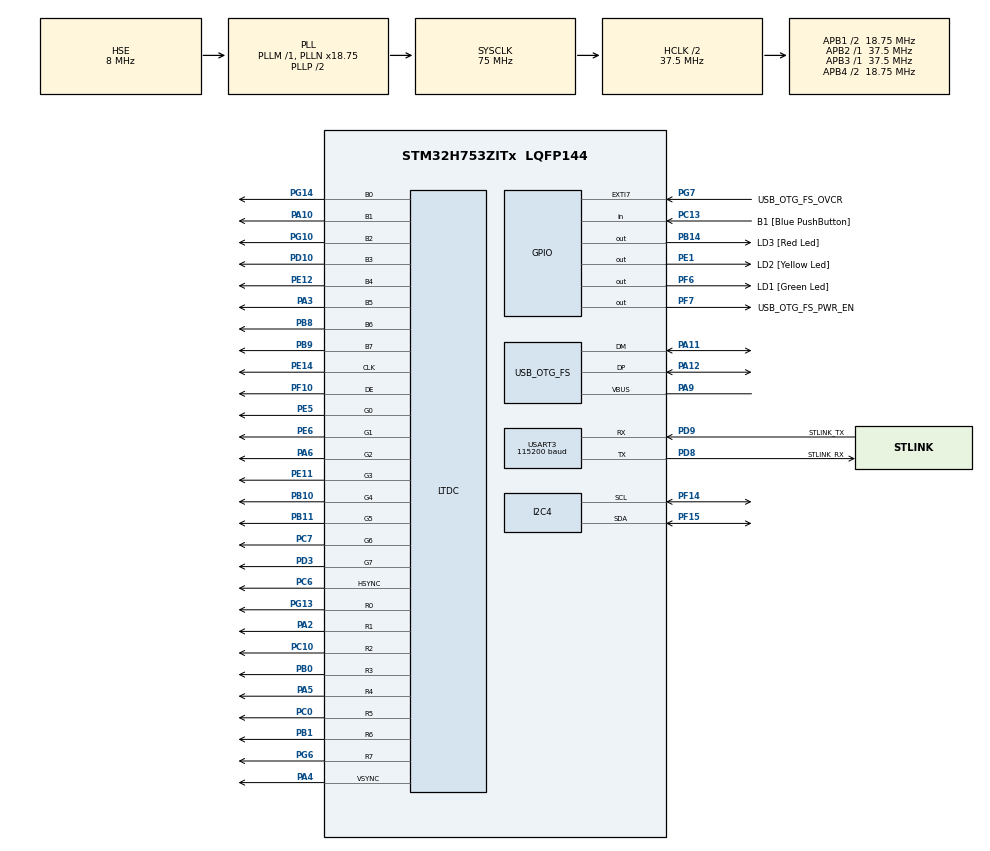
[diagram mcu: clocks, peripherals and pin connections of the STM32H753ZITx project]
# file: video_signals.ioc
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CORTEX_M7.CPU_DCache=Disabled
CORTEX_M7.CPU_ICache=Disabled
CORTEX_M7.MPU_Control=__NULL
I2C4.Timing=0x0040486C
LTDC.ActiveH=100
LTDC.ActiveW=100
LTDC.Alpha_L0=255
LTDC.FBStartAdress_L0=(uint32_t)ImageBuffer
LTDC.HBP=17
LTDC.HFP=16
LTDC.HSync=18
LTDC.ImageHeight_L0=100
LTDC.ImageWidth_L0=100
LTDC.Layers=0
LTDC.PixelFormat_L0=LTDC_PIXEL_FORMAT_L8
LTDC.VBP=12
LTDC.VSync=14
LTDC.WindowX1_L0=100
LTDC.WindowY1_L0=100
Mcu.Family=STM32H7
Mcu.Name=STM32H753ZITx
Mcu.Package=LQFP144
NVIC.PriorityGroup=NVIC_PRIORITYGROUP_4
PA10.GPIO_Mode=GPIO_MODE_AF_PP
PA10.GPIO_PuPd=GPIO_NOPULL
PA10.GPIO_Speed=GPIO_SPEED_FREQ_VERY_HIGH
PA10.Mode=RGB888
PA10.Signal=LTDC_B1
PA11.Mode=Device_Only
PA11.Signal=USB_OTG_FS_DM
PA12.Mode=Device_Only
PA12.Signal=USB_OTG_FS_DP
PA2.GPIO_Mode=GPIO_MODE_AF_PP
PA2.GPIO_PuPd=GPIO_NOPULL
PA2.GPIO_Speed=GPIO_SPEED_FREQ_VERY_HIGH
PA2.Mode=RGB888
PA2.Signal=LTDC_R1
PA3.GPIO_Mode=GPIO_MODE_AF_PP
PA3.GPIO_PuPd=GPIO_NOPULL
PA3.GPIO_Speed=GPIO_SPEED_FREQ_VERY_HIGH
PA3.Mode=RGB888
PA3.Signal=LTDC_B5
PA4.GPIO_Mode=GPIO_MODE_AF_PP
PA4.GPIO_PuPd=GPIO_NOPULL
PA4.GPIO_Speed=GPIO_SPEED_FREQ_VERY_HIGH
PA4.Mode=RGB888
PA4.Signal=LTDC_VSYNC
PA5.GPIO_Mode=GPIO_MODE_AF_PP
PA5.GPIO_PuPd=GPIO_NOPULL
PA5.GPIO_Speed=GPIO_SPEED_FREQ_VERY_HIGH
PA5.Mode=RGB888
PA5.Signal=LTDC_R4
PA6.GPIO_Mode=GPIO_MODE_AF_PP
PA6.GPIO_PuPd=GPIO_NOPULL
PA6.GPIO_Speed=GPIO_SPEED_FREQ_VERY_HIGH
PA6.Mode=RGB888
PA6.Signal=LTDC_G2
PA9.Mode=Activate_VBUS
PA9.Signal=USB_OTG_FS_VBUS
PB0.GPIO_Mode=GPIO_MODE_AF_PP
PB0.GPIO_PuPd=GPIO_NOPULL
PB0.GPIO_Speed=GPIO_SPEED_FREQ_VERY_HIGH
PB0.Mode=RGB888
PB0.Signal=LTDC_R3
PB1.GPIO_Mode=GPIO_MODE_AF_PP
PB1.GPIO_PuPd=GPIO_NOPULL
PB1.GPIO_Speed=GPIO_SPEED_FREQ_VERY_HIGH
PB1.Mode=RGB888
PB1.Signal=LTDC_R6
PB10.GPIO_Mode=GPIO_MODE_AF_PP
PB10.GPIO_PuPd=GPIO_NOPULL
PB10.GPIO_Speed=GPIO_SPEED_FREQ_VERY_HIGH
PB10.Mode=RGB888
PB10.Signal=LTDC_G4
PB11.GPIO_Mode=GPIO_MODE_AF_PP
PB11.GPIO_PuPd=GPIO_NOPULL
PB11.GPIO_Speed=GPIO_SPEED_FREQ_VERY_HIGH
PB11.Mode=RGB888
PB11.Signal=LTDC_G5
PB14.GPIO_Label=LD3 [Red Led]
PB14.Signal=GPIO_Output
PB8.GPIO_Mode=GPIO_MODE_AF_PP
PB8.GPIO_PuPd=GPIO_NOPULL
PB8.GPIO_Speed=GPIO_SPEED_FREQ_VERY_HIGH
PB8.Mode=RGB888
PB8.Signal=LTDC_B6
PB9.GPIO_Mode=GPIO_MODE_AF_PP
PB9.GPIO_PuPd=GPIO_NOPULL
PB9.GPIO_Speed=GPIO_SPEED_FREQ_VERY_HIGH
PB9.Mode=RGB888
PB9.Signal=LTDC_B7
PC0.GPIO_Mode=GPIO_MODE_AF_PP
PC0.GPIO_PuPd=GPIO_NOPULL
PC0.GPIO_Speed=GPIO_SPEED_FREQ_VERY_HIGH
PC0.Mode=RGB888
PC0.Signal=LTDC_R5
PC10.GPIO_Mode=GPIO_MODE_AF_PP
PC10.GPIO_PuPd=GPIO_NOPULL
PC10.GPIO_Speed=GPIO_SPEED_FREQ_VERY_HIGH
PC10.Mode=RGB888
PC10.Signal=LTDC_R2
PC13.GPIO_Label=B1 [Blue PushButton]
PC13.Signal=GPIO_Input
PC14-OSC32_IN\ (OSC32_IN).Mode=LSE-External-Oscillator
PC14-OSC32_IN\ (OSC32_IN).Signal=RCC_OSC32_IN
PC15-OSC32_OUT\ (OSC32_OUT).Mode=LSE-External-Oscillator
PC15-OSC32_OUT\ (OSC32_OUT).Signal=RCC_OSC32_OUT
PC6.GPIO_Mode=GPIO_MODE_AF_PP
PC6.GPIO_PuPd=GPIO_NOPULL
PC6.GPIO_Speed=GPIO_SPEED_FREQ_VERY_HIGH
PC6.Mode=RGB888
PC6.Signal=LTDC_HSYNC
PC7.GPIO_Mode=GPIO_MODE_AF_PP
PC7.GPIO_PuPd=GPIO_NOPULL
PC7.GPIO_Speed=GPIO_SPEED_FREQ_VERY_HIGH
PC7.Mode=RGB888
PC7.Signal=LTDC_G6
PD10.GPIO_Mode=GPIO_MODE_AF_PP
PD10.GPIO_PuPd=GPIO_NOPULL
PD10.GPIO_Speed=GPIO_SPEED_FREQ_VERY_HIGH
PD10.Mode=RGB888
PD10.Signal=LTDC_B3
PD3.GPIO_Mode=GPIO_MODE_AF_PP
PD3.GPIO_PuPd=GPIO_NOPULL
PD3.GPIO_Speed=GPIO_SPEED_FREQ_VERY_HIGH
PD3.Mode=RGB888
PD3.Signal=LTDC_G7
PD8.GPIO_Label=STLINK_RX
PD8.Mode=Asynchronous
PD8.Signal=USART3_TX
PD9.GPIO_Label=STLINK_TX
PD9.Mode=Asynchronous
PD9.Signal=USART3_RX
PE1.GPIO_Label=LD2 [Yellow Led]
PE1.Signal=GPIO_Output
PE11.GPIO_Mode=GPIO_MODE_AF_PP
PE11.GPIO_PuPd=GPIO_NOPULL
PE11.GPIO_Speed=GPIO_SPEED_FREQ_VERY_HIGH
PE11.Mode=RGB888
PE11.Signal=LTDC_G3
PE12.GPIO_Mode=GPIO_MODE_AF_PP
PE12.GPIO_PuPd=GPIO_NOPULL
PE12.GPIO_Speed=GPIO_SPEED_FREQ_VERY_HIGH
PE12.Mode=RGB888
PE12.Signal=LTDC_B4
PE14.GPIO_Mode=GPIO_MODE_AF_PP
PE14.GPIO_PuPd=GPIO_NOPULL
PE14.GPIO_Speed=GPIO_SPEED_FREQ_VERY_HIGH
PE14.Mode=RGB888
PE14.Signal=LTDC_CLK
PE5.GPIO_Mode=GPIO_MODE_AF_PP
PE5.GPIO_PuPd=GPIO_NOPULL
PE5.GPIO_Speed=GPIO_SPEED_FREQ_VERY_HIGH
PE5.Mode=RGB888
PE5.Signal=LTDC_G0
PE6.Mode=RGB888
PE6.Signal=LTDC_G1
PF10.GPIO_Mode=GPIO_MODE_AF_PP
PF10.GPIO_PuPd=GPIO_NOPULL
PF10.GPIO_Speed=GPIO_SPEED_FREQ_VERY_HIGH
PF10.Mode=RGB888
PF10.Signal=LTDC_DE
PF14.Mode=I2C
PF14.Signal=I2C4_SCL
PF15.Mode=I2C
PF15.Signal=I2C4_SDA
PF6.GPIO_Label=LD1 [Green Led]
PF6.Signal=GPIO_Output
PF7.GPIO_Label=USB_OTG_FS_PWR_EN
PF7.Signal=GPIO_Output
PG10.GPIO_Mode=GPIO_MODE_AF_PP
PG10.GPIO_PuPd=GPIO_NOPULL
PG10.GPIO_Speed=GPIO_SPEED_FREQ_VERY_HIGH
PG10.Mode=RGB888
PG10.Signal=LTDC_B2
PG13.GPIO_Mode=GPIO_MODE_AF_PP
PG13.GPIO_PuPd=GPIO_NOPULL
PG13.GPIO_Speed=GPIO_SPEED_FREQ_VERY_HIGH
PG13.Mode=RGB888
PG13.Signal=LTDC_R0
PG14.GPIO_Mode=GPIO_MODE_AF_PP
PG14.GPIO_PuPd=GPIO_NOPULL
PG14.GPIO_Speed=GPIO_SPEED_FREQ_VERY_HIGH
PG14.Mode=RGB888
PG14.Signal=LTDC_B0
PG6.GPIO_Mode=GPIO_MODE_AF_PP
PG6.GPIO_PuPd=GPIO_NOPULL
PG6.GPIO_Speed=GPIO_SPEED_FREQ_VERY_HIGH
PG6.Mode=RGB888
PG6.Signal=LTDC_R7
PG7.GPIO_Label=USB_OTG_FS_OVCR
PG7.Signal=GPXTI7
PH0-OSC_IN\ (PH0).Mode=HSE-External-Oscillator
PH0-OSC_IN\ (PH0).Signal=RCC_OSC_IN
PH1-OSC_OUT\ (PH1).Mode=HSE-External-Oscillator
PH1-OSC_OUT\ (PH1).Signal=RCC_OSC_OUT
ProjectManager.HeapSize=0x200
ProjectManager.StackSize=0x400
ProjectManager.TargetToolchain=STM32CubeIDE
RCC.ADCFreq_Value=16125000
RCC.APB1Freq_Value=18750000
RCC.APB2Freq_Value=37500000
RCC.APB3Freq_Value=37500000
RCC.APB4Freq_Value=18750000
RCC.CortexFreq_Value=75000000
RCC.D2PPRE1=RCC_APB1_DIV2
RCC.D3PPRE=RCC_APB4_DIV2
RCC.DIVM1=1
RCC.DIVM3=8
RCC.DIVN1=18
RCC.DIVN3=151
RCC.DIVQ1=3
RCC.DIVR3=128
RCC.HCLKFreq_Value=37500000
RCC.HPRE=RCC_HCLK_DIV2
RCC.HSE_VALUE=8000000
RCC.PLL3FRACN=0
RCC.PLLFRACN=6144
RCC.PLLSourceVirtual=RCC_PLLSOURCE_HSE
RCC.SYSCLKFreq_VALUE=75000000
RCC.SYSCLKSource=RCC_SYSCLKSOURCE_PLLCLK
RCC.Tim2Mul=1
RCC.USBFreq_Value=50000000
USART3.AutoBaudRateEnableParam=UART_ADVFEATURE_AUTOBAUDRATE_DISABLE
USART3.BaudRate=115200
USART3.ClockPrescaler=PRESCALER_DIV1
USART3.DMADisableonRxErrorParam=ADVFEATURE_DMA_ENABLEONRXERROR
USART3.DataInvertParam=ADVFEATURE_DATAINV_DISABLE
USART3.FIFOMode=FIFOMODE_DISABLE
USART3.MSBFirstParam=ADVFEATURE_MSBFIRST_DISABLE
USART3.Mode=MODE_TX_RX
USART3.OneBitSampling=UART_ONE_BIT_SAMPLE_DISABLE
USART3.OverSampling=UART_OVERSAMPLING_16
USART3.OverrunDisableParam=ADVFEATURE_OVERRUN_ENABLE
USART3.Parity=PARITY_NONE
USART3.RXFIFOThreshold=RXFIFO_THRESHOLD_1EIGHTHFULL
USART3.RxPinLevelInvertParam=ADVFEATURE_RXINV_DISABLE
USART3.StopBits=STOPBITS_1
USART3.SwapParam=ADVFEATURE_SWAP_DISABLE
USART3.TXFIFOThreshold=TXFIFO_THRESHOLD_1EIGHTHFULL
USART3.TxPinLevelInvertParam=ADVFEATURE_TXINV_DISABLE
USART3.VirtualMode-Asynchronous=VM_ASYNC
USART3.WordLength=WORDLENGTH_8B
USB_OTG_FS.Sof_enable=ENABLE
USB_OTG_FS.VirtualMode=Device_Only
USB_OTG_FS.battery_charging_enable=ENABLE
USB_OTG_FS.low_power_enable=DISABLE
USB_OTG_FS.lpm_enable=DISABLE
USB_OTG_FS.use_dedicated_ep1=DISABLE
USB_OTG_FS.vbus_sensing_enable=ENABLE
board=NUCLEO-H753ZI

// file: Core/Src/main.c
/* USER CODE BEGIN Header */
/**
  ******************************************************************************
  * @file           : main.c
  * @brief          : Main program body
  ******************************************************************************
  * @attention
  *
  * Copyright (c) 2024 STMicroelectronics.
  * All rights reserved.
  *
  * This software is licensed under terms that can be found in the LICENSE file
  * in the root directory of this software component.
  * If no LICENSE file comes with this software, it is provided AS-IS.
  *
  ******************************************************************************
  */
/* USER CODE END Header */
#include "main.h"

/* USER CODE BEGIN Includes */
#include "stm32h7xx_hal.h"
#include <string.h>
#include <stdio.h>
#include <stdlib.h>

/* USER CODE END Includes */

/* USER CODE BEGIN PD */
#define CLUT_SIZE 256

/* USER CODE END PD */

I2C_HandleTypeDef hi2c4;

LTDC_HandleTypeDef hltdc;

UART_HandleTypeDef huart3;

PCD_HandleTypeDef hpcd_USB_OTG_FS;

void SystemClock_Config(void);
static void MX_GPIO_Init(void);
static void MX_USART3_UART_Init(void);
static void MX_USB_OTG_FS_PCD_Init(void);
static void MX_I2C4_Init(void);
static void MX_LTDC_Init(void);
/* USER CODE BEGIN PFP */

void LoadCLUTForGrayscale(LTDC_HandleTypeDef *hltdc, uint32_t layer);
int _write(int file, char *data, int len);

/* USER CODE END PFP */

/* USER CODE BEGIN 0 */
	#define IMAGE_WIDTH   100
	#define IMAGE_HEIGHT  100

	uint8_t ImageBuffer[IMAGE_WIDTH * IMAGE_HEIGHT];

	void generateTestPattern(uint8_t* buffer, uint16_t width, uint16_t height) {
	    uint16_t half_width = width / 2;
	    uint16_t half_height = height / 2;

	    for (uint16_t y = 0; y < height; y++) {
	        for (uint16_t x = 0; x < width; x++) {
	            if (y < half_height && x < half_width) { // Upper left quadrant: checkered pattern
	                buffer[y * width + x] = ((x / 10) % 2 == (y / 10) % 2) ? 0xFF : 0x00; // Alternating white and black with 10-pixel squares
	            } else if (y >= half_height && x >= half_width) { // Upper right quadrant: vertical lines
	                buffer[y * width + x] = (x % 2 == 0) ? 0xFF : 0x00; // Alternating white and black
	            } else if (y < half_height && x >= half_width) { // Bottom right quadrant: horizontal lines
	                buffer[y * width + x] = (y % 2 == 0) ? 0xFF : 0x00; // Alternating white and black
	            } else if (y >= half_height && x < half_width) { // Bottom left quadrant: single color
	                buffer[y * width + x] = 0x80; // Medium gray
	            }
	        }
	    }
	}

	uint32_t myCLUT[CLUT_SIZE];

	void LoadCLUTForGrayscale(LTDC_HandleTypeDef *hltdc, uint32_t layer) {
	    for (uint32_t i = 0; i < CLUT_SIZE; i++) {
	        uint32_t grayValue = i | (i << 8) | (i << 16) | (0xFF << 24); // ARGB format
	        //i-red , i<<8 - green, i<<16- blue -> + alpha (always 0xFF -> 32bit ARGB format
	        myCLUT[i] = grayValue;

	        }
	    HAL_LTDC_ConfigCLUT(hltdc, &myCLUT[0], CLUT_SIZE, layer);
	    HAL_StatusTypeDef ReturnValue = HAL_LTDC_EnableCLUT(hltdc, layer);

	    	        switch (ReturnValue) {
	    	            case HAL_OK:
	    	                printf("HAL_LTDC_EnableCLUT returned HAL_OK\n\r");
	    	                break;
	    	            case HAL_ERROR:
	    	                printf("HAL_LTDC_EnableCLUT returned HAL_ERROR\n\r");
	    	                break;
	    	            case HAL_BUSY:
	    	                printf("HAL_LTDC_EnableCLUT returned HAL_BUSY\n\r");
	    	                break;
	    	            case HAL_TIMEOUT:
	    	                printf("HAL_LTDC_EnableCLUT returned HAL_TIMEOUT\n\r");
	    	                break;
	    	            default:
	    	                printf("HAL_LTDC_EnableCLUT returned unknown status\n\r");

	    }
	}

	void VerifyCLUTEntry(uint32_t index) {
	    if (index < CLUT_SIZE) {
	        uint32_t clutEntry = myCLUT[index];
	        printf("CLUT[%lu] = 0x%08lX\n\r", index, clutEntry);
	    } else {
	        printf("Invalid CLUT index\n");
	    }
	}

	void testGenerator(uint8_t* buffer, uint16_t width, uint16_t height){

		for (uint16_t y = 0; y < height; y++) {
			for (uint16_t x = 0; x < width; x++) {

				 buffer[y * width + x] = 0xD3;
			}
		}

	}

	//UART, printf setup:
	int _write(int file, char *data, int len) {

	        HAL_UART_Transmit(&huart3, (uint8_t*)data, len, HAL_MAX_DELAY);
	        return len;

	}

/* USER CODE END 0 */

int main(void)
{

  /* MCU Configuration--------------------------------------------------------*/

  /* Reset of all peripherals, Initializes the Flash interface and the Systick. */
  HAL_Init();

  /* Configure the system clock */
  SystemClock_Config();

  /* Initialize all configured peripherals */
  MX_GPIO_Init();
  MX_USART3_UART_Init();
  MX_USB_OTG_FS_PCD_Init();
  MX_I2C4_Init();
  MX_LTDC_Init();
  /* USER CODE BEGIN 2 */

  if (HAL_LTDC_GetState(&hltdc) != HAL_LTDC_STATE_READY)
    	  {
    	      Error_Handler(); // Add appropriate error handling
    	  }

  printf("Hello, UART debug output!\n\r");

  LoadCLUTForGrayscale(&hltdc, 0); //layer 0
  //setting up the CLUT, so the grayscale is mapped correctly

  //for every data in the imagebuffer the hardware consults with the CLUT
  //to output the correct number
  //for example if imagebuffer == 0x80, it will look at what is the 128th (0x80 in dec)
  //index in the CLUT and have the outputs set accordingly
  //(in this case, put out 128 on the r,g and b pins)

  //generateTestPattern(ImageBuffer, IMAGE_WIDTH, IMAGE_HEIGHT);
  HAL_LTDC_Reload(&hltdc, LTDC_RELOAD_IMMEDIATE);
  testGenerator(ImageBuffer, IMAGE_WIDTH, IMAGE_HEIGHT);

  	  if (HAL_LTDC_GetState(&hltdc) != HAL_LTDC_STATE_READY)
  	  {
  	      Error_Handler();
  	      printf("HIBA");
  	  }

  //Tesztek:

  	for(int i=0; i<30; i++)
  	VerifyCLUTEntry(ImageBuffer[i]);

  /* USER CODE END 2 */

  /* Infinite loop */
  while (1)
  {

  }
}

void SystemClock_Config(void)
{
  RCC_OscInitTypeDef RCC_OscInitStruct = {0};
  RCC_ClkInitTypeDef RCC_ClkInitStruct = {0};

  /** Supply configuration update enable
  */
  HAL_PWREx_ConfigSupply(PWR_LDO_SUPPLY);

  /** Configure the main internal regulator output voltage
  */
  __HAL_PWR_VOLTAGESCALING_CONFIG(PWR_REGULATOR_VOLTAGE_SCALE3);

  while(!__HAL_PWR_GET_FLAG(PWR_FLAG_VOSRDY)) {}

  /** Initializes the RCC Oscillators according to the specified parameters
  * in the RCC_OscInitTypeDef structure.
  */
  RCC_OscInitStruct.OscillatorType = RCC_OSCILLATORTYPE_HSE;
  RCC_OscInitStruct.HSEState = RCC_HSE_ON;
  RCC_OscInitStruct.PLL.PLLState = RCC_PLL_ON;
  RCC_OscInitStruct.PLL.PLLSource = RCC_PLLSOURCE_HSE;
  RCC_OscInitStruct.PLL.PLLM = 1;
  RCC_OscInitStruct.PLL.PLLN = 18;
  RCC_OscInitStruct.PLL.PLLP = 2;
  RCC_OscInitStruct.PLL.PLLQ = 3;
  RCC_OscInitStruct.PLL.PLLR = 2;
  RCC_OscInitStruct.PLL.PLLRGE = RCC_PLL1VCIRANGE_3;
  RCC_OscInitStruct.PLL.PLLVCOSEL = RCC_PLL1VCOMEDIUM;
  RCC_OscInitStruct.PLL.PLLFRACN = 6144;
  if (HAL_RCC_OscConfig(&RCC_OscInitStruct) != HAL_OK)
  {
    Error_Handler();
  }

  /** Initializes the CPU, AHB and APB buses clocks
  */
  RCC_ClkInitStruct.ClockType = RCC_CLOCKTYPE_HCLK|RCC_CLOCKTYPE_SYSCLK
                              |RCC_CLOCKTYPE_PCLK1|RCC_CLOCKTYPE_PCLK2
                              |RCC_CLOCKTYPE_D3PCLK1|RCC_CLOCKTYPE_D1PCLK1;
  RCC_ClkInitStruct.SYSCLKSource = RCC_SYSCLKSOURCE_PLLCLK;
  RCC_ClkInitStruct.SYSCLKDivider = RCC_SYSCLK_DIV1;
  RCC_ClkInitStruct.AHBCLKDivider = RCC_HCLK_DIV2;
  RCC_ClkInitStruct.APB3CLKDivider = RCC_APB3_DIV1;
  RCC_ClkInitStruct.APB1CLKDivider = RCC_APB1_DIV2;
  RCC_ClkInitStruct.APB2CLKDivider = RCC_APB2_DIV1;
  RCC_ClkInitStruct.APB4CLKDivider = RCC_APB4_DIV2;

  if (HAL_RCC_ClockConfig(&RCC_ClkInitStruct, FLASH_LATENCY_0) != HAL_OK)
  {
    Error_Handler();
  }
}

static void MX_I2C4_Init(void)
{

  hi2c4.Instance = I2C4;
  hi2c4.Init.Timing = 0x0040486C;
  hi2c4.Init.OwnAddress1 = 0;
  hi2c4.Init.AddressingMode = I2C_ADDRESSINGMODE_7BIT;
  hi2c4.Init.DualAddressMode = I2C_DUALADDRESS_DISABLE;
  hi2c4.Init.OwnAddress2 = 0;
  hi2c4.Init.OwnAddress2Masks = I2C_OA2_NOMASK;
  hi2c4.Init.GeneralCallMode = I2C_GENERALCALL_DISABLE;
  hi2c4.Init.NoStretchMode = I2C_NOSTRETCH_DISABLE;
  if (HAL_I2C_Init(&hi2c4) != HAL_OK)
  {
    Error_Handler();
  }

  /** Configure Analogue filter
  */
  if (HAL_I2CEx_ConfigAnalogFilter(&hi2c4, I2C_ANALOGFILTER_ENABLE) != HAL_OK)
  {
    Error_Handler();
  }

  /** Configure Digital filter
  */
  if (HAL_I2CEx_ConfigDigitalFilter(&hi2c4, 0) != HAL_OK)
  {
    Error_Handler();
  }

}

static void MX_LTDC_Init(void)
{

  LTDC_LayerCfgTypeDef pLayerCfg = {0};

  hltdc.Instance = LTDC;
  hltdc.Init.HSPolarity = LTDC_HSPOLARITY_AL;
  hltdc.Init.VSPolarity = LTDC_VSPOLARITY_AL;
  hltdc.Init.DEPolarity = LTDC_DEPOLARITY_AL;
  hltdc.Init.PCPolarity = LTDC_PCPOLARITY_IPC;
  hltdc.Init.HorizontalSync = 17;
  hltdc.Init.VerticalSync = 13;
  hltdc.Init.AccumulatedHBP = 34;
  hltdc.Init.AccumulatedVBP = 25;
  hltdc.Init.AccumulatedActiveW = 134;
  hltdc.Init.AccumulatedActiveH = 125;
  hltdc.Init.TotalWidth = 150;
  hltdc.Init.TotalHeigh = 127;
  hltdc.Init.Backcolor.Blue = 0;
  hltdc.Init.Backcolor.Green = 0;
  hltdc.Init.Backcolor.Red = 0;
  if (HAL_LTDC_Init(&hltdc) != HAL_OK)
  {
    Error_Handler();
  }
  pLayerCfg.WindowX0 = 0;
  pLayerCfg.WindowX1 = 100;
  pLayerCfg.WindowY0 = 0;
  pLayerCfg.WindowY1 = 100;
  pLayerCfg.PixelFormat = LTDC_PIXEL_FORMAT_L8;
  pLayerCfg.Alpha = 255;
  pLayerCfg.Alpha0 = 0;
  pLayerCfg.BlendingFactor1 = LTDC_BLENDING_FACTOR1_CA;
  pLayerCfg.BlendingFactor2 = LTDC_BLENDING_FACTOR2_CA;
  pLayerCfg.FBStartAdress = (uint32_t)ImageBuffer;
  pLayerCfg.ImageWidth = 100;
  pLayerCfg.ImageHeight = 100;
  pLayerCfg.Backcolor.Blue = 0;
  pLayerCfg.Backcolor.Green = 0;
  pLayerCfg.Backcolor.Red = 0;
  if (HAL_LTDC_ConfigLayer(&hltdc, &pLayerCfg, 0) != HAL_OK)
  {
    Error_Handler();
  }

}

static void MX_USART3_UART_Init(void)
{

  huart3.Instance = USART3;
  huart3.Init.BaudRate = 115200;
  huart3.Init.WordLength = UART_WORDLENGTH_8B;
  huart3.Init.StopBits = UART_STOPBITS_1;
  huart3.Init.Parity = UART_PARITY_NONE;
  huart3.Init.Mode = UART_MODE_TX_RX;
  huart3.Init.HwFlowCtl = UART_HWCONTROL_NONE;
  huart3.Init.OverSampling = UART_OVERSAMPLING_16;
  huart3.Init.OneBitSampling = UART_ONE_BIT_SAMPLE_DISABLE;
  huart3.Init.ClockPrescaler = UART_PRESCALER_DIV1;
  huart3.AdvancedInit.AdvFeatureInit = UART_ADVFEATURE_NO_INIT;
  if (HAL_UART_Init(&huart3) != HAL_OK)
  {
    Error_Handler();
  }
  if (HAL_UARTEx_SetTxFifoThreshold(&huart3, UART_TXFIFO_THRESHOLD_1_8) != HAL_OK)
  {
    Error_Handler();
  }
  if (HAL_UARTEx_SetRxFifoThreshold(&huart3, UART_RXFIFO_THRESHOLD_1_8) != HAL_OK)
  {
    Error_Handler();
  }
  if (HAL_UARTEx_DisableFifoMode(&huart3) != HAL_OK)
  {
    Error_Handler();
  }

}

static void MX_USB_OTG_FS_PCD_Init(void)
{

  hpcd_USB_OTG_FS.Instance = USB_OTG_FS;
  hpcd_USB_OTG_FS.Init.dev_endpoints = 9;
  hpcd_USB_OTG_FS.Init.speed = PCD_SPEED_FULL;
  hpcd_USB_OTG_FS.Init.dma_enable = DISABLE;
  hpcd_USB_OTG_FS.Init.phy_itface = PCD_PHY_EMBEDDED;
  hpcd_USB_OTG_FS.Init.Sof_enable = ENABLE;
  hpcd_USB_OTG_FS.Init.low_power_enable = DISABLE;
  hpcd_USB_OTG_FS.Init.lpm_enable = DISABLE;
  hpcd_USB_OTG_FS.Init.battery_charging_enable = ENABLE;
  hpcd_USB_OTG_FS.Init.vbus_sensing_enable = ENABLE;
  hpcd_USB_OTG_FS.Init.use_dedicated_ep1 = DISABLE;
  if (HAL_PCD_Init(&hpcd_USB_OTG_FS) != HAL_OK)
  {
    Error_Handler();
  }

}

static void MX_GPIO_Init(void)
{
  GPIO_InitTypeDef GPIO_InitStruct = {0};

  /* GPIO Ports Clock Enable */
  __HAL_RCC_GPIOE_CLK_ENABLE();
  __HAL_RCC_GPIOC_CLK_ENABLE();
  __HAL_RCC_GPIOF_CLK_ENABLE();
  __HAL_RCC_GPIOH_CLK_ENABLE();
  __HAL_RCC_GPIOA_CLK_ENABLE();
  __HAL_RCC_GPIOB_CLK_ENABLE();
  __HAL_RCC_GPIOD_CLK_ENABLE();
  __HAL_RCC_GPIOG_CLK_ENABLE();

  /*Configure GPIO pin Output Level */
  HAL_GPIO_WritePin(GPIOF, LD1_Pin|USB_OTG_FS_PWR_EN_Pin, GPIO_PIN_RESET);

  /*Configure GPIO pin Output Level */
  HAL_GPIO_WritePin(LD3_GPIO_Port, LD3_Pin, GPIO_PIN_RESET);

  /*Configure GPIO pin Output Level */
  HAL_GPIO_WritePin(LD2_GPIO_Port, LD2_Pin, GPIO_PIN_RESET);

  /*Configure GPIO pin : B1_Pin */
  GPIO_InitStruct.Pin = B1_Pin;
  GPIO_InitStruct.Mode = GPIO_MODE_INPUT;
  GPIO_InitStruct.Pull = GPIO_NOPULL;
  HAL_GPIO_Init(B1_GPIO_Port, &GPIO_InitStruct);

  /*Configure GPIO pins : LD1_Pin USB_OTG_FS_PWR_EN_Pin */
  GPIO_InitStruct.Pin = LD1_Pin|USB_OTG_FS_PWR_EN_Pin;
  GPIO_InitStruct.Mode = GPIO_MODE_OUTPUT_PP;
  GPIO_InitStruct.Pull = GPIO_NOPULL;
  GPIO_InitStruct.Speed = GPIO_SPEED_FREQ_LOW;
  HAL_GPIO_Init(GPIOF, &GPIO_InitStruct);

  /*Configure GPIO pin : LD3_Pin */
  GPIO_InitStruct.Pin = LD3_Pin;
  GPIO_InitStruct.Mode = GPIO_MODE_OUTPUT_PP;
  GPIO_InitStruct.Pull = GPIO_NOPULL;
  GPIO_InitStruct.Speed = GPIO_SPEED_FREQ_LOW;
  HAL_GPIO_Init(LD3_GPIO_Port, &GPIO_InitStruct);

  /*Configure GPIO pin : USB_OTG_FS_OVCR_Pin */
  GPIO_InitStruct.Pin = USB_OTG_FS_OVCR_Pin;
  GPIO_InitStruct.Mode = GPIO_MODE_IT_RISING;
  GPIO_InitStruct.Pull = GPIO_NOPULL;
  HAL_GPIO_Init(USB_OTG_FS_OVCR_GPIO_Port, &GPIO_InitStruct);

  /*Configure GPIO pin : LD2_Pin */
  GPIO_InitStruct.Pin = LD2_Pin;
  GPIO_InitStruct.Mode = GPIO_MODE_OUTPUT_PP;
  GPIO_InitStruct.Pull = GPIO_NOPULL;
  GPIO_InitStruct.Speed = GPIO_SPEED_FREQ_LOW;
  HAL_GPIO_Init(LD2_GPIO_Port, &GPIO_InitStruct);

}

void Error_Handler(void)
{
  __disable_irq();
  while (1)
  {
  }
}
